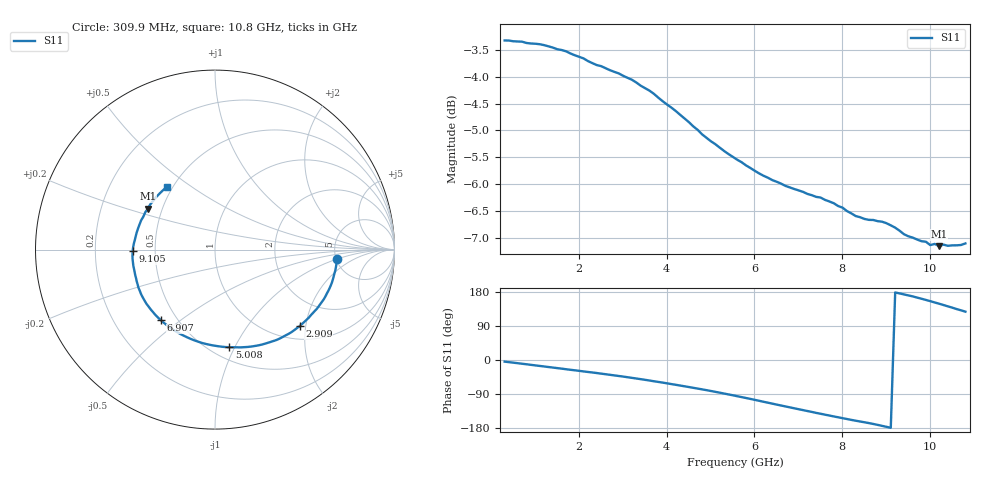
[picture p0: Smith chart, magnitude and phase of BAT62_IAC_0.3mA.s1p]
! Infineon Technologies  Discrete & RF Semiconductors
! BAT62
! IAC = 0.3 mA
! One-Port S-Parameters
# Hz  S  MA  R  50
!f  S11
!Hz  Mag  Ang
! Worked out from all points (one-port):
!   106 points, 309.9 MHz to 10.8 GHz, reference 50 ohm
!   lowest |S11| = -7.2 dB at 10.2 GHz (marker M1), VSWR 2.56, Z = 20.8 + j11.8 ohm
!   |S11| at or under -10 dB: nowhere
!   S11 on the Smith chart (normalised r, x): 309.9 MHz: 5.10, -0.97; 2.909 GHz: 1.29, -1.85; 5.008 GHz: 0.61, -0.95; 6.907 GHz: 0.41, -0.43; 9.105 GHz: 0.37, -0.01; 10.8 GHz: 0.47, +0.40
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3.0985e8  0.6823 -4.3
7.0965e8  0.6804 -9.9
1.10945e9  0.6768 -15.7
1.70915e9  0.6665 -24.3
2.10895e9  0.6564 -30.2
2.4088e9  0.6471 -34.4
2.90855e9  0.6356 -42.2
3.0085e9  0.6324 -43.7
3.30835e9  0.6234 -48.9
3.70815e9  0.6084 -56.0
4.30785e9  0.5815 -67.4
4.70765e9  0.563 -75.5
5.0075e9  0.5494 -81.7
5.30735e9  0.5381 -88.5
5.6072e9  0.528 -95.5
5.90705e9  0.5187 -102.7
6.30685e9  0.508 -112.6
6.90655e9  0.4958 -127.4
7.50625e9  0.4868 -141.8
7.8061e9  0.4809 -148.9
8.2059e9  0.4705 -158.0
8.70565e9  0.4638 -168.8
9.10545e9  0.4585 -179.0
9.50525e9  0.4479 170.4
9.90505e9  0.4426 158.5
1.02049e10  0.4385 148.6
1.050475e10  0.4392 138.2
1.08046e10  0.441 127.6
